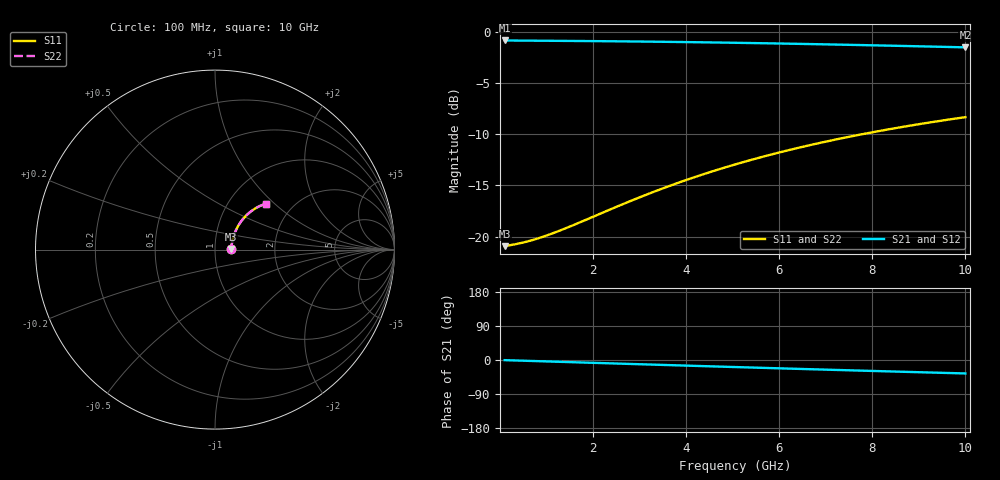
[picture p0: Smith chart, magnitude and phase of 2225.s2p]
# Hz S RI R 50.00
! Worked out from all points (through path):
!   100 points, 100 MHz to 10 GHz, reference 50 ohm
!   highest |S21| = -0.82 dB at 100 MHz (marker M1); lowest = -1.5 dB at 10 GHz (marker M2)
!   group delay of S21, straight-line fit = 9.89 ps
!   lowest |S11| = -20.9 dB at 100 MHz (marker M3), VSWR 1.20, Z = 59.9 + j0.44 ohm
!   |S11| at or under -10 dB: start of sweep to 7.766 GHz
!   |S22| runs from -20.9 to -8.3 dB; largest |S21 - S12| = 0
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1e8  0.0897 0.00364  0.9103 -0.00595  0.9103 -0.00595  0.0897 0.00364
3e8  0.0909 0.0109  0.9091 -0.0178  0.9091 -0.0178  0.0909 0.0109
5e8  0.0918 0.0181  0.9081 -0.0297  0.9081 -0.0297  0.0918 0.0181
8e8  0.0934 0.0289  0.9064 -0.0474  0.9064 -0.0474  0.0934 0.0289
1e9  0.0946 0.0361  0.9051 -0.0591  0.9051 -0.0591  0.0946 0.0361
1.2e9  0.0959 0.0432  0.9037 -0.0708  0.9037 -0.0708  0.0959 0.0432
1.5e9  0.0982 0.0538  0.9011 -0.0884  0.9011 -0.0884  0.0982 0.0538
1.8e9  0.1009 0.0642  0.8982 -0.1057  0.8982 -0.1057  0.1009 0.0642
2.7e9  0.1111 0.0948  0.8869 -0.1571  0.8869 -0.1571  0.1111 0.0948
3.1e9  0.1166 0.1079  0.8806 -0.1794  0.8806 -0.1794  0.1166 0.1079
3.4e9  0.1212 0.1175  0.8755 -0.1959  0.8755 -0.1959  0.1212 0.1175
3.8e9  0.1279 0.1299  0.868 -0.2176  0.868 -0.2176  0.1279 0.1299
4.2e9  0.1351 0.1419  0.8599 -0.2389  0.8599 -0.2389  0.1351 0.1419
4.6e9  0.1429 0.1535  0.8511 -0.2598  0.8511 -0.2598  0.1429 0.1535
5.1e9  0.1534 0.1673  0.8392 -0.2852  0.8392 -0.2852  0.1534 0.1673
5.5e9  0.1624 0.1778  0.8291 -0.305  0.8291 -0.305  0.1624 0.1778
5.9e9  0.1718 0.1877  0.8184 -0.3242  0.8184 -0.3242  0.1718 0.1877
6.7e9  0.1917 0.206  0.7956 -0.3611  0.7956 -0.3611  0.1917 0.206
7.5e9  0.2131 0.2219  0.771 -0.3957  0.771 -0.3957  0.2131 0.2219
8.4e9  0.2384 0.237  0.7415 -0.4319  0.7415 -0.4319  0.2384 0.237
9.2e9  0.2617 0.2479  0.7141 -0.4616  0.7141 -0.4616  0.2617 0.2479
1e10  0.2855 0.2564  0.6858 -0.489  0.6858 -0.489  0.2855 0.2564
